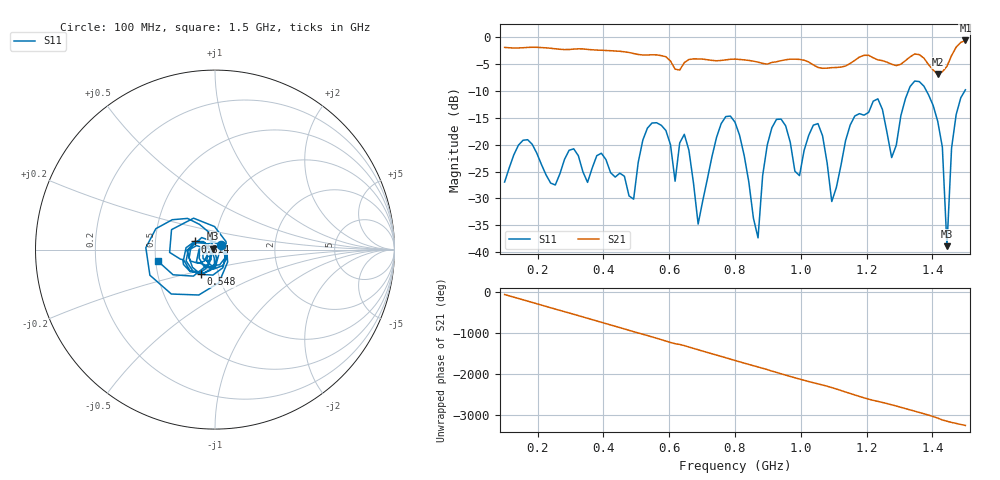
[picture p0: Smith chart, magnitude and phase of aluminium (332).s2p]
! NanoVNA-App
! Date: 2025-09-25 14:57:52
! Start: 100MHz Stop: 1,5GHz Points: 101
! S-Parameter data: F S11 S21 S12 S22
# Hz S RI R 50
!  Frequency  S11_Real  S11_Imag  S21_Real  S21_Imag  S12_Real  S12_Imag  S22_Real  S22_Imag
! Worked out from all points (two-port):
!   101 points, 100 MHz to 1.5 GHz, reference 50 ohm
!   highest |S21| = -0.63 dB at 1.5 GHz (marker M1); lowest = -7.0 dB at 1.416 GHz (marker M2)
!   |S21| within 3 dB of the highest: start of sweep to 587.9 MHz; 1.457 GHz to end of sweep (the widest 2 of 4)
!   lowest |S11| = -38.9 dB at 1.444 GHz (marker M3), VSWR 1.02, Z = 49 + j0.421 ohm
!   |S11| at or under -10 dB: start of sweep to 1.327 GHz; 1.382 GHz to 1.498 GHz (116.6 MHz wide, 8.1 % of centre)
!   S12 and S22 are empty: the file has one direction only
!   S11 on the Smith chart (normalised r, x): 100 MHz: 1.07, +0.06; 548 MHz: 0.82, -0.23; 814 MHz: 0.79, +0.07; 1.5 GHz: 0.52, -0.08
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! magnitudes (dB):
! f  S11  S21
! 100 MHz  -27.0  -1.9
! 338 MHz  -25.1  -2.2
! 492 MHz  -30.1  -3.1
! 548 MHz  -16.0  -3.3
! 576 MHz  -16.4  -3.5
! 618 MHz  -26.8  -6.0
! 646 MHz  -18.1  -4.8
! 688 MHz  -34.8  -4.1
! 800 MHz  -15.8  -4.1
! 814 MHz  -18.3  -4.2
! 870 MHz  -37.3  -4.7
! 912 MHz  -16.9  -4.7
! 996 MHz  -25.8  -4.2
! 1.038 GHz  -16.4  -5.2
! 1.094 GHz  -30.6  -5.7
! 1.22 GHz  -11.9  -3.9
! 1.276 GHz  -22.4  -5.0
! 1.346 GHz  -8.2  -3.1
! 1.416 GHz  -15.7  -7.0
! 1.444 GHz  -38.9  -5.4
! 1.458 GHz  -20.6  -3.4
! 1.5 GHz  -9.8  -0.6
